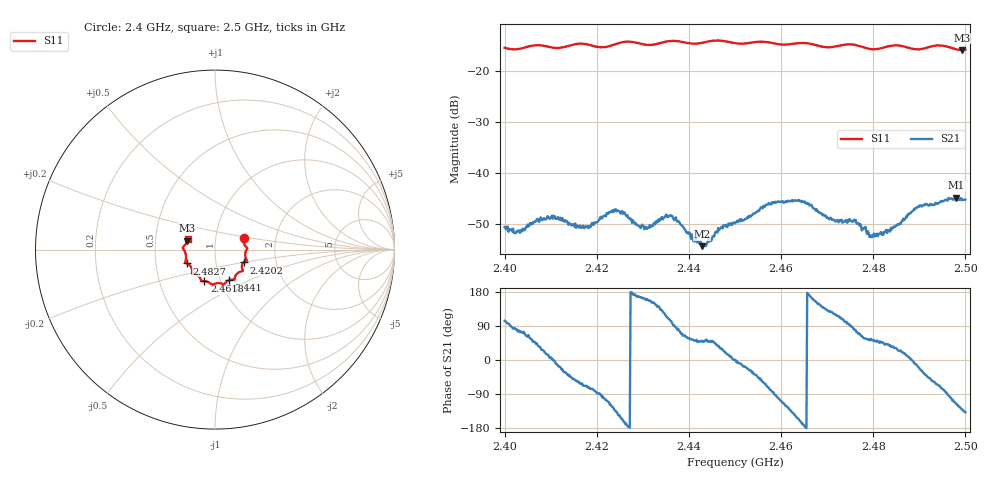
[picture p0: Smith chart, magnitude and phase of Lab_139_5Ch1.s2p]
# Hz S RI R 50
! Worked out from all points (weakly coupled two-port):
!   601 points, 2.4 GHz to 2.5 GHz, reference 50 ohm
!   highest |S21| = -44.83 dB at 2.498 GHz (marker M1); lowest = -54.3 dB at 2.4428 GHz (marker M2)
!   lowest |S11| = -15.8 dB at 2.4993 GHz (marker M3), VSWR 1.39, Z = 36.5 + j3.8 ohm
!   |S11| at or under -10 dB: start of sweep to end of sweep
!   S12 and S22 are empty: the file has one direction only
!   S11 on the Smith chart (normalised r, x): 2.4 GHz: 1.36, +0.18; 2.4202 GHz: 1.36, -0.20; 2.441 GHz: 1.10, -0.39; 2.4618 GHz: 0.84, -0.30; 2.4827 GHz: 0.72, -0.11; 2.5 GHz: 0.73, +0.09
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2.4e9  0.1589 0.0628  -0.000691 0.00287  0 0  0 0
2.4025e9  0.1615 0.034  0.000381 0.00256  0 0  0 0
2.4105e9  0.1709 -0.0112  0.00356 -5.59e-05  0 0  0 0
2.416667e9  0.1772 -0.0608  0.00134 -0.00256  0 0  0 0
2.420167e9  0.1589 -0.0715  0.000118 -0.0033  0 0  0 0
2.424e9  0.1514 -0.1067  -0.00309 -0.00316  0 0  0 0
2.429167e9  0.1442 -0.1215  -0.00294 0.000706  0 0  0 0
2.433333e9  0.1117 -0.1507  -0.00256 0.00211  0 0  0 0
2.436e9  0.109 -0.1668  -0.000917 0.00375  0 0  0 0
2.441e9  0.0789 -0.1698  0.00129 0.00171  0 0  0 0
2.442833e9  0.0622 -0.1805  0.00121 0.00149  0 0  0 0
2.45e9  0.0286 -0.1875  0.00321 -4.76e-05  0 0  0 0
2.461833e9  -0.059 -0.1754  -0.00344 -0.00402  0 0  0 0
2.466667e9  -0.0789 -0.1683  -0.0046 0.00141  0 0  0 0
2.476333e9  -0.1275 -0.1288  0.000899 0.00312  0 0  0 0
2.4795e9  -0.132 -0.1001  0.00132 0.00194  0 0  0 0
2.482667e9  -0.1558 -0.0771  0.00196 0.00182  0 0  0 0
2.483333e9  -0.1602 -0.0752  0.00206 0.00174  0 0  0 0
2.489667e9  -0.1623 -0.0287  0.00446 -0.0014  0 0  0 0
2.498e9  -0.1615 0.0334  -0.00255 -0.00514  0 0  0 0
2.499333e9  -0.1541 0.0507  -0.00354 -0.00411  0 0  0 0
2.5e9  -0.1522 0.0604  -0.00409 -0.00368  0 0  0 0
